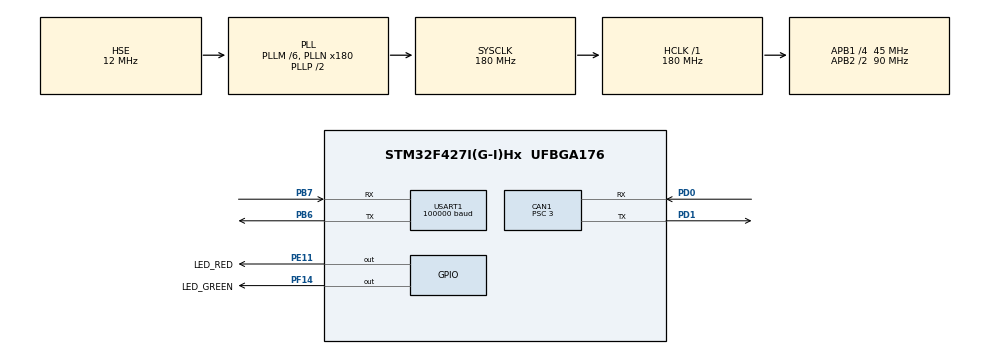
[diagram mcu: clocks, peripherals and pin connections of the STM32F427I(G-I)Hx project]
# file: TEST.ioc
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CAN1.BS1=CAN_BS1_12TQ
CAN1.BS2=CAN_BS2_2TQ
CAN1.CalculateBaudRate=1000000
CAN1.CalculateTimeBit=1000
CAN1.CalculateTimeQuantum=66.66666666666666
CAN1.Prescaler=3
FREERTOS.Tasks01=defaultTask,24,256,StartDefaultTask,Default,NULL,Dynamic,NULL,NULL;remoteTask,32,256,startRemoteTask,Default,NULL,Dynamic,NULL,NULL;controlTask,40,256,StartControlTask,Default,NULL,Dynamic,NULL,NULL;debugTask,8,256,StartDebugTask,Default,NULL,Dynamic,NULL,NULL
IWDG.Prescaler=IWDG_PRESCALER_32
IWDG.Reload=499
Mcu.Family=STM32F4
Mcu.Name=STM32F427I(G-I)Hx
Mcu.Package=UFBGA176
NVIC.CAN1_RX0_IRQn=true\:5\:0\:false\:false\:true\:true\:true\:true\:true
NVIC.PriorityGroup=NVIC_PRIORITYGROUP_4
NVIC.TIM1_UP_TIM10_IRQn=true\:15\:0\:false\:false\:true\:false\:false\:true\:true
NVIC.TimeBase=TIM1_UP_TIM10_IRQn
NVIC.TimeBaseIP=TIM1
NVIC.USART1_IRQn=true\:5\:0\:true\:false\:true\:true\:true\:true\:true
PA13.Mode=Serial_Wire
PA13.Signal=SYS_JTMS-SWDIO
PA14.Mode=Serial_Wire
PA14.Signal=SYS_JTCK-SWCLK
PB6.Mode=Asynchronous
PB6.Signal=USART1_TX
PB7.Mode=Asynchronous
PB7.Signal=USART1_RX
PD0.Mode=CAN_Activate
PD0.Signal=CAN1_RX
PD1.Mode=CAN_Activate
PD1.Signal=CAN1_TX
PE11.GPIO_Label=LED_RED
PE11.Signal=GPIO_Output
PF14.GPIO_Label=LED_GREEN
PF14.Signal=GPIO_Output
PH0/OSC_IN.Mode=HSE-External-Oscillator
PH0/OSC_IN.Signal=RCC_OSC_IN
PH1/OSC_OUT.Mode=HSE-External-Oscillator
PH1/OSC_OUT.Signal=RCC_OSC_OUT
ProjectManager.HeapSize=0x200
ProjectManager.StackSize=0x400
ProjectManager.TargetToolchain=MDK-ARM V5
RCC.48MHZClocksFreq_Value=90000000
RCC.AHBFreq_Value=180000000
RCC.APB1CLKDivider=RCC_HCLK_DIV4
RCC.APB1Freq_Value=45000000
RCC.APB1TimFreq_Value=90000000
RCC.APB2CLKDivider=RCC_HCLK_DIV2
RCC.APB2Freq_Value=90000000
RCC.APB2TimFreq_Value=180000000
RCC.CortexFreq_Value=180000000
RCC.HCLKFreq_Value=180000000
RCC.HSE_VALUE=12000000
RCC.HSI_VALUE=16000000
RCC.LSE_VALUE=32768
RCC.PLLM=6
RCC.PLLN=180
RCC.PLLSourceVirtual=RCC_PLLSOURCE_HSE
RCC.SYSCLKFreq_VALUE=180000000
RCC.SYSCLKSource=RCC_SYSCLKSOURCE_PLLCLK
RCC.VCOOutputFreq_Value=360000000
USART1.BaudRate=100000
USART1.Mode=MODE_RX
USART1.Parity=PARITY_EVEN
USART1.StopBits=STOPBITS_2
USART1.VirtualMode=VM_ASYNC
USART1.WordLength=WORDLENGTH_9B
VP_FREERTOS_VS_CMSIS_V2.Mode=CMSIS_V2
VP_IWDG_VS_IWDG.Mode=IWDG_Activate
VP_SYS_VS_tim1.Mode=TIM1
board=custom

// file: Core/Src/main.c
/* USER CODE BEGIN Header */
/**
  ******************************************************************************
  * @file           : main.c
  * @brief          : Main program body
  ******************************************************************************
  * @attention
  *
  * Copyright (c) 2026 STMicroelectronics.
  * All rights reserved.
  *
  * This software is licensed under terms that can be found in the LICENSE file
  * in the root directory of this software component.
  * If no LICENSE file comes with this software, it is provided AS-IS.
  *
  ******************************************************************************
  */
/* USER CODE END Header */
#include "main.h"
#include "cmsis_os.h"
#include "can.h"
#include "iwdg.h"
#include "usart.h"
#include "gpio.h"

/* USER CODE BEGIN Includes */
#include "can_motor.h"
#include "pid.h"
#include "remote.h"
#include "control.h"
#include "safety.h"
#include "debug.h"
/* USER CODE END Includes */

void SystemClock_Config(void);
void MX_FREERTOS_Init(void);

/* USER CODE BEGIN 0 */

/**
  * @brief  自测失败后的死循环：闪红灯 + 【喂狗】
  * @param  blink_ms 闪烁半周期（毫秒）；传 0 = 常亮
  *
  * ⭐ 为什么这里必须喂狗？
  *    CubeMX 把 MX_IWDG_Init() 放在自测【之前】，看门狗 0.5 秒就超时。
  *    自测失败会进死循环 —— 如果不喂狗，板子会每 0.5 秒复位一次，
  *    红灯暗号根本闪不出来，人看不到是哪个自测挂了。
  *
  * ⭐ 设计原则：
  *    自测失败属于【开发阶段的错】，要能停下来让人看；
  *    运行期的卡死才交给看门狗自动复位（那是 Safety_Update 的事）。
  */
static void SelfTest_Hang(uint32_t blink_ms)
{
  if (blink_ms == 0U)
  {
    /* 常亮 */
    HAL_GPIO_WritePin(LED_RED_GPIO_Port, LED_RED_Pin, GPIO_PIN_SET);
    for (;;)
    {
      HAL_IWDG_Refresh(&hiwdg);      /* ⭐ 喂狗，保持常亮不被打断 */
      HAL_Delay(100);
    }
  }

  /* 闪烁 */
  for (;;)
  {
    HAL_GPIO_TogglePin(LED_RED_GPIO_Port, LED_RED_Pin);
    HAL_IWDG_Refresh(&hiwdg);        /* ⭐ 喂狗，保持闪烁不被打断 */
    HAL_Delay(blink_ms);
  }
}

/* USER CODE END 0 */

int main(void)
{

  /* MCU Configuration--------------------------------------------------------*/

  /* Reset of all peripherals, Initializes the Flash interface and the Systick. */
  HAL_Init();

  /* Configure the system clock */
  SystemClock_Config();

  /* Initialize all configured peripherals */
  MX_GPIO_Init();
  MX_CAN1_Init();
  MX_USART1_UART_Init();
  MX_IWDG_Init();
  /* USER CODE BEGIN 2 */
  /* ==========================================================================
   * ① 上电自测 —— 必须在【启动任何接收】之前做！
   *    原因：如果先启动了 CAN / 串口接收，真实数据会在自测过程中串进来，
   *          把自测的假数据搅乱 → 出现"偶发的假失败"，上机时很难查
   *
   * 失败时的红灯暗号（此时 RTOS 还没启动，所以只能用 HAL_Delay）：
   *    常亮        = CAN 大端解析错了
   *    闪 500 ms   = 过零累计错了
   *    闪 100 ms   = PID 数学错了
   *    闪 50 ms    = SBUS 解析错了
   *    闪 200 ms   = 档位/摇杆映射错了
   *    闪 300 ms   = 安全中心错了
   *    闪 400 ms   = J-Scope 数据搬运错了
   *
   * ⚠️ 每个死循环里都要【喂狗】—— 见 SelfTest_Hang() 的说明
   * ==========================================================================*/
  if (C620_SelfTest() != 0)
  {
    SelfTest_Hang(0U);              /* 常亮 */
  }
  if (AngleAccumSelfTest() != 0)
  {
    SelfTest_Hang(500U);
  }
  if (Pid_SelfTest() != 0)
  {
    SelfTest_Hang(100U);
  }
  if (Remote_SelfTest() != 0)
  {
    SelfTest_Hang(50U);
  }
  if (Control_SelfTest() != 0)      /* 档位判断 / 摇杆映射 / 斜坡限速 */
  {
    SelfTest_Hang(200U);
  }
  if (Safety_SelfTest() != 0)       /* 遥控/电调掉线、报错、过温、任务心跳 */
  {
    SelfTest_Hang(300U);
  }
  if (Debug_SelfTest() != 0)        /* J-Scope 用的数据搬运 */
  {
    SelfTest_Hang(400U);
  }

  /* ==========================================================================
   * ② 自测全部通过 → 初始化控制逻辑（安全中心 + 两路 PID）
   *    必须放在自测【之后】（自测会改全局变量），
   *    也必须放在启动接收【之前】（两个任务都要用 PID）
   *
   *    ⭐ Control_Init() 内部会调 Safety_Init()：
   *       读复位原因、读上次的故障记录、复位任务心跳
   * ==========================================================================*/
  Control_Init();

  /* ==========================================================================
   * ③ 才启动接收
   * ==========================================================================*/
  C620_CanInit();          /* 配滤波器 + 启动 CAN + 打开接收中断 */
  Remote_StartReceive();   /* 启动 USART1 单字节中断接收（SBUS）*/
  /* USER CODE END 2 */

  /* Init scheduler */
  osKernelInitialize();  /* Call init function for freertos objects (in cmsis_os2.c) */
  MX_FREERTOS_Init();

  /* Start scheduler */
  osKernelStart();

  /* We should never get here as control is now taken by the scheduler */

  /* Infinite loop */
  while (1)
  {

  }
}

void SystemClock_Config(void)
{
  RCC_OscInitTypeDef RCC_OscInitStruct = {0};
  RCC_ClkInitTypeDef RCC_ClkInitStruct = {0};

  /** Configure the main internal regulator output voltage
  */
  __HAL_RCC_PWR_CLK_ENABLE();
  __HAL_PWR_VOLTAGESCALING_CONFIG(PWR_REGULATOR_VOLTAGE_SCALE1);

  /** Initializes the RCC Oscillators according to the specified parameters
  * in the RCC_OscInitTypeDef structure.
  */
  RCC_OscInitStruct.OscillatorType = RCC_OSCILLATORTYPE_LSI|RCC_OSCILLATORTYPE_HSE;
  RCC_OscInitStruct.HSEState = RCC_HSE_ON;
  RCC_OscInitStruct.LSIState = RCC_LSI_ON;
  RCC_OscInitStruct.PLL.PLLState = RCC_PLL_ON;
  RCC_OscInitStruct.PLL.PLLSource = RCC_PLLSOURCE_HSE;
  RCC_OscInitStruct.PLL.PLLM = 6;
  RCC_OscInitStruct.PLL.PLLN = 180;
  RCC_OscInitStruct.PLL.PLLP = RCC_PLLP_DIV2;
  RCC_OscInitStruct.PLL.PLLQ = 4;
  if (HAL_RCC_OscConfig(&RCC_OscInitStruct) != HAL_OK)
  {
    Error_Handler();
  }

  /** Activate the Over-Drive mode
  */
  if (HAL_PWREx_EnableOverDrive() != HAL_OK)
  {
    Error_Handler();
  }

  /** Initializes the CPU, AHB and APB buses clocks
  */
  RCC_ClkInitStruct.ClockType = RCC_CLOCKTYPE_HCLK|RCC_CLOCKTYPE_SYSCLK
                              |RCC_CLOCKTYPE_PCLK1|RCC_CLOCKTYPE_PCLK2;
  RCC_ClkInitStruct.SYSCLKSource = RCC_SYSCLKSOURCE_PLLCLK;
  RCC_ClkInitStruct.AHBCLKDivider = RCC_SYSCLK_DIV1;
  RCC_ClkInitStruct.APB1CLKDivider = RCC_HCLK_DIV4;
  RCC_ClkInitStruct.APB2CLKDivider = RCC_HCLK_DIV2;

  if (HAL_RCC_ClockConfig(&RCC_ClkInitStruct, FLASH_LATENCY_5) != HAL_OK)
  {
    Error_Handler();
  }
}

void HAL_TIM_PeriodElapsedCallback(TIM_HandleTypeDef *htim)
{
  if (htim->Instance == TIM1)
  {
    HAL_IncTick();
  }
}

void Error_Handler(void)
{
  __disable_irq();
  while (1)
  {
  }
}

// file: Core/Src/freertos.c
/* USER CODE BEGIN Header */
/**
  ******************************************************************************
  * File Name          : freertos.c
  * Description        : Code for freertos applications
  ******************************************************************************
  * @attention
  *
  * Copyright (c) 2026 STMicroelectronics.
  * All rights reserved.
  *
  * This software is licensed under terms that can be found in the LICENSE file
  * in the root directory of this software component.
  * If no LICENSE file comes with this software, it is provided AS-IS.
  *
  ******************************************************************************
  */
/* USER CODE END Header */

#include "FreeRTOS.h"
#include "task.h"
#include "main.h"
#include "cmsis_os.h"

/* USER CODE BEGIN Includes */
#include "can_motor.h"
#include "pid.h"
#include "remote.h"
#include "control.h"
#include "safety.h"
#include "debug.h"
/* USER CODE END Includes */

/* USER CODE BEGIN PD */
/* ④ 速度环的测试目标已废弃 —— 现在目标由 ⑦ 档位/摇杆映射给出（见 control.c）*/
/* USER CODE END PD */

/* Definitions for defaultTask */
osThreadId_t defaultTaskHandle;
const osThreadAttr_t defaultTask_attributes = {
  .name = "defaultTask",
  .stack_size = 256 * 4,
  .priority = (osPriority_t) osPriorityNormal,
};
/* Definitions for remoteTask */
osThreadId_t remoteTaskHandle;
const osThreadAttr_t remoteTask_attributes = {
  .name = "remoteTask",
  .stack_size = 256 * 4,
  .priority = (osPriority_t) osPriorityAboveNormal,
};
/* Definitions for controlTask */
osThreadId_t controlTaskHandle;
const osThreadAttr_t controlTask_attributes = {
  .name = "controlTask",
  .stack_size = 256 * 4,
  .priority = (osPriority_t) osPriorityHigh,
};
/* Definitions for debugTask */
osThreadId_t debugTaskHandle;
const osThreadAttr_t debugTask_attributes = {
  .name = "debugTask",
  .stack_size = 256 * 4,
  .priority = (osPriority_t) osPriorityLow,
};

void StartDefaultTask(void *argument);
void startRemoteTask(void *argument);
void StartControlTask(void *argument);
void StartDebugTask(void *argument);

void MX_FREERTOS_Init(void); /* (MISRA C 2004 rule 8.1) */

void MX_FREERTOS_Init(void) {

  /* Create the thread(s) */
  /* creation of defaultTask */
  defaultTaskHandle = osThreadNew(StartDefaultTask, NULL, &defaultTask_attributes);

  /* creation of remoteTask */
  remoteTaskHandle = osThreadNew(startRemoteTask, NULL, &remoteTask_attributes);

  /* creation of controlTask */
  controlTaskHandle = osThreadNew(StartControlTask, NULL, &controlTask_attributes);

  /* creation of debugTask */
  debugTaskHandle = osThreadNew(StartDebugTask, NULL, &debugTask_attributes);

}

void StartDefaultTask(void *argument)
{
  for(;;)
  {
    osDelay(1);
  }
}

void startRemoteTask(void *argument)
{
  /* USER CODE BEGIN startRemoteTask */
  uint32_t tick;

  /* ==========================================================================
   * ⭐ remoteTask —— 考核要求里的"接收遥控器指令"任务
   *    每 10 ms 跑一次：
   *      读 remote.ch[] → 判档位（SWA5）→ 算摇杆目标 → 存到全局
   *    （SBUS 的字节接收在 USART1 中断里完成，这里只做"解读"）
   *
   *    ⭐ 每次都上报心跳 → 这个任务卡死的话，安全中心会发现，
   *       然后停止喂狗让看门狗复位（见 safety.c）
   * ========================================================================== */
  tick = osKernelGetTickCount();
  for(;;)
  {
    tick += 10U;                 /* 10 ms → 100 Hz，够跟遥控器（约 14ms 一帧）*/
    osDelayUntil(tick);

    Safety_Heartbeat(SAFETY_TASK_REMOTE);   /* ⭐ "我还活着" */

    /* ⭐ 遥控任务也参与安全检查 —— 这是【故意】的！
     *   如果只有 controlTask 做检查，那 controlTask 一旦卡死，
     *   连"是谁卡了"都记录不下来。
     *   两个任务都调 Safety_Check()，只要还有一个活着，
     *   故障现场就能被记到备份寄存器里 ✓
     *   （喂狗 Safety_FeedDog() 只在 controlTask 里调，所以不影响复位逻辑）*/
    (void)Safety_Check();

    Control_RemoteUpdate();      /* 读遥控 + 判档位 + 算目标 */
  }
  /* USER CODE END startRemoteTask */
}

void StartControlTask(void *argument)
{
  /* USER CODE BEGIN StartControlTask */
  uint32_t tick;

  /* ---- ① 上电自测 + Control_Init()：都在 main.c 的 USER CODE 2 里做
   *      （自测必须在启动 CAN/串口接收之前，否则真实数据会搅乱假数据）*/

  /* ---- ② 1 kHz 控制循环 ----
   * osDelayUntil 保证"每 1 ms 一次"，不会像 osDelay 那样累积漂移
   * ⚠️ 必须和 control.h 里的 CONTROL_DT_S(0.001f) 一致 */
  tick = osKernelGetTickCount();
  for(;;)
  {
    tick += 1U;
    osDelayUntil(tick);

    /* ⭐ 先上报心跳，再干活 —— 顺序不能反！
     *   因为 Control_Update() 里面会调 Safety_Update()，
     *   Safety_Update() 要检查"这个任务的心跳新不新鲜"。
     *   如果反了，它检查到的就是【上一周期】的心跳。 */
    Safety_Heartbeat(SAFETY_TASK_CONTROL);

    /* 所有决策逻辑都在 Control_Update() 里：
     *   读档位 → 安全中心 → 算目标 → 位置环 → 速度环 → 发 CAN
     *
     * ⭐ 安全中心（Safety_Update）在里面，它负责喂狗。
     *    所以：这个任务卡住 → 不喂狗 → 500ms 后看门狗复位 */
    Control_Update();

    /* ⭐ 把这一周期的数据记进 debug 结构体，给 J-Scope 看
     * 放在这里而不是 Control_Update 里面，是因为保护触发时
     * Control_Update 会提前 return，那样就看不到故障时的数据了 */
    Debug_Update();
  }
  /* USER CODE END StartControlTask */
}

void StartDebugTask(void *argument)
{
  /* USER CODE BEGIN StartDebugTask */
  uint32_t cnt = 0U;

  /* ==========================================================================
   * ⭐ debugTask —— 绿灯心跳 + 任务存活上报
   *
   *   ⚠️ 为什么要每 10ms 跑一次，而不是直接用 osDelay(500)？
   *      看门狗超时是 500ms，而这个任务原来也是 500ms 才跑一次
   *      → 安全中心检查"它的心跳超时（200ms）"时会一直判定它卡死
   *      → 结果就是无限复位
   *
   *   ⭐ 解法：每 10ms 跑一次并上报心跳，
   *          每 50 次（= 500ms）才翻转一次绿灯
   *          → 心跳够勤，绿灯还是 500ms 闪一次 ✓
   * ========================================================================== */
  for(;;)
  {
    Safety_Heartbeat(SAFETY_TASK_DEBUG);    /* ⭐ "我还活着" */

    cnt++;
    if (cnt >= 50U)                          /* 50 × 10ms = 500ms */
    {
      cnt = 0U;
      HAL_GPIO_TogglePin(LED_GREEN_GPIO_Port, LED_GREEN_Pin);
    }

    osDelay(10U);                            /* ⭐ 10ms 一次（原来是 500）*/
  }
  /* USER CODE END StartDebugTask */
}
